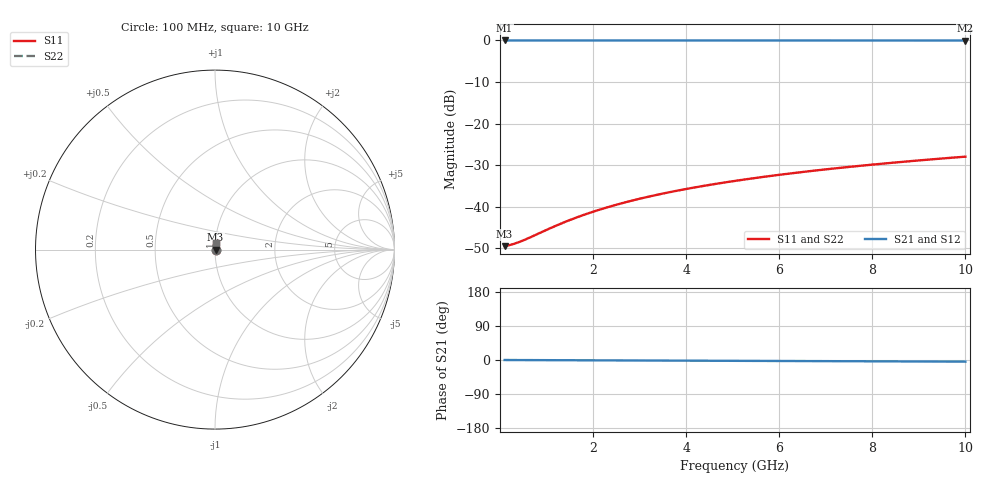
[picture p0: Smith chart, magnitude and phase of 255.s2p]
# Hz S RI R 50.00
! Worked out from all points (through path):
!   100 points, 100 MHz to 10 GHz, reference 50 ohm
!   highest |S21| = -0.03 dB at 100 MHz (marker M1); lowest = 0.0 dB at 10 GHz (marker M2)
!   lowest |S11| = -49.5 dB at 100 MHz (marker M3), VSWR 1.01, Z = 50.3 + j0.0398 ohm
!   |S11| at or under -10 dB: start of sweep to end of sweep
!   |S22| runs from -49.5 to -28.0 dB; largest |S21 - S12| = 0
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1e8  0.00333 0.000396  0.9967 -0.000754  0.9967 -0.000754  0.00333 0.000396
2e8  0.00335 0.000791  0.9966 -0.00151  0.9966 -0.00151  0.00335 0.000791
3e8  0.00337 0.00119  0.9966 -0.00226  0.9966 -0.00226  0.00337 0.00119
4e8  0.00338 0.00158  0.9966 -0.00302  0.9966 -0.00302  0.00338 0.00158
6e8  0.00341 0.00237  0.9966 -0.00452  0.9966 -0.00452  0.00341 0.00237
1e9  0.00346 0.00395  0.9965 -0.00754  0.9965 -0.00754  0.00346 0.00395
1.3e9  0.0035 0.00514  0.9965 -0.0098  0.9965 -0.0098  0.0035 0.00514
1.5e9  0.00352 0.00593  0.9965 -0.0113  0.9965 -0.0113  0.00352 0.00593
1.8e9  0.00357 0.00712  0.9964 -0.0136  0.9964 -0.0136  0.00357 0.00712
2.1e9  0.00362 0.0083  0.9963 -0.0158  0.9963 -0.0158  0.00362 0.0083
2.5e9  0.00369 0.00988  0.9963 -0.0188  0.9963 -0.0188  0.00369 0.00988
2.9e9  0.00376 0.0115  0.9962 -0.0219  0.9962 -0.0219  0.00376 0.0115
3.4e9  0.00387 0.0134  0.996 -0.0256  0.996 -0.0256  0.00387 0.0134
3.8e9  0.00397 0.015  0.9959 -0.0286  0.9959 -0.0286  0.00397 0.015
4.2e9  0.00408 0.0166  0.9958 -0.0316  0.9958 -0.0316  0.00408 0.0166
4.6e9  0.0042 0.0182  0.9957 -0.0347  0.9957 -0.0347  0.0042 0.0182
5.1e9  0.00436 0.0201  0.9955 -0.0384  0.9955 -0.0384  0.00436 0.0201
5.9e9  0.00464 0.0233  0.9951 -0.0444  0.9951 -0.0444  0.00464 0.0233
6.7e9  0.00496 0.0264  0.9947 -0.0504  0.9947 -0.0504  0.00496 0.0264
7.5e9  0.00532 0.0296  0.9943 -0.0565  0.9943 -0.0565  0.00532 0.0296
8.4e9  0.00577 0.0331  0.9937 -0.0632  0.9937 -0.0632  0.00577 0.0331
1e10  0.00668 0.0394  0.9926 -0.0752  0.9926 -0.0752  0.00668 0.0394
